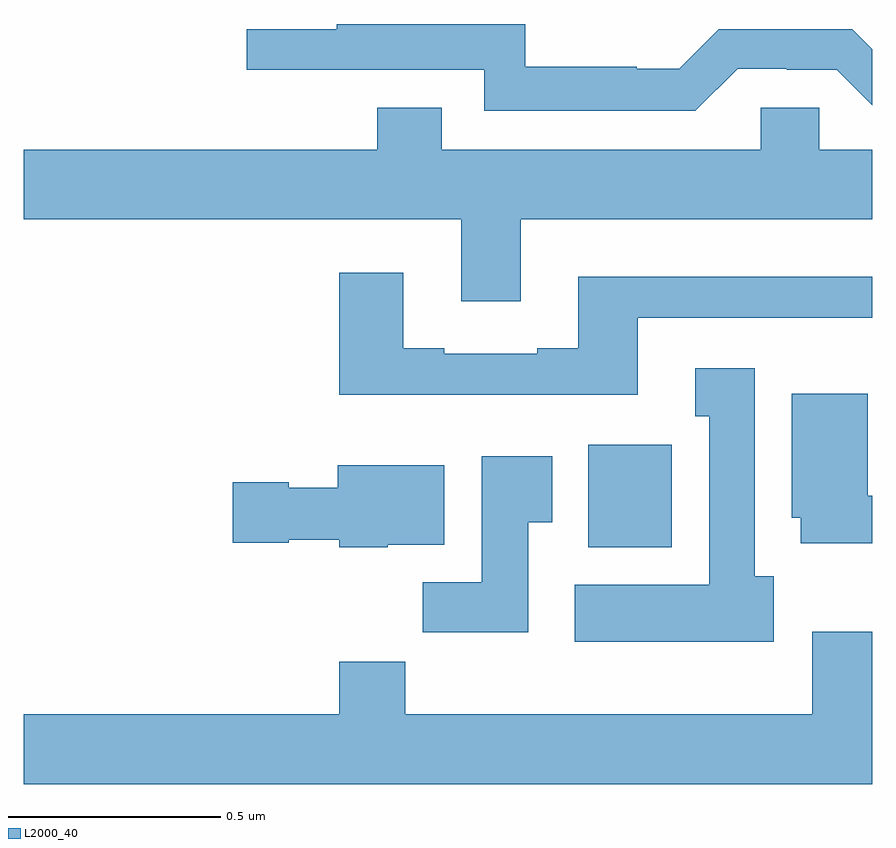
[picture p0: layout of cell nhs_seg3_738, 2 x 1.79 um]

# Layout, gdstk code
import gdstk
lib = gdstk.Library(unit=1e-6, precision=1e-09)
def R(c, l, rs):  # rectangles x0, y0, x1, y1
    for r in rs: c.add(gdstk.rectangle(r[:2], r[2:], *l))
def P(c, l, *ps):  # polygons
    for p in ps: c.add(gdstk.Polygon(p, *l))
L2000_40 = (2000, 40)

nhs_seg3_738 = lib.new_cell('nhs_seg3_738')
R(nhs_seg3_738, L2000_40, [(121.331,676.166,121.528,676.408)])
P(nhs_seg3_738, L2000_40, [(121.683,677.295),(121.799,677.295),(121.799,677.292),(121.917,677.292),(122,677.209),(122,677.341),(121.953,677.388),(121.638,677.388),(121.545,677.295),(121.445,677.295),(121.445,677.299),(121.182,677.299),(121.182,677.4),(120.738,677.4),(120.738,677.388),(120.525,677.388),(120.525,677.292),(121.086,677.292),(121.086,677.195),(121.583,677.195)],
  [(121.171,676.94),(122,676.94),(122,677.104),(121.875,677.104),(121.875,677.202),(121.737,677.202),(121.737,677.104),(120.985,677.104),(120.985,677.203),(120.833,677.203),(120.833,677.104),(120,677.104),(120,676.94),(121.031,676.94),(121.031,676.746),(121.171,676.746)],
  [(121.447,676.707),(122,676.707),(122,676.804),(121.307,676.804),(121.307,676.636),(121.211,676.636),(121.211,676.623),(120.991,676.623),(120.991,676.636),(120.895,676.636),(120.895,676.813),(120.743,676.813),(120.743,676.526),(121.447,676.526)],
  [(121.768,676.098),(121.723,676.098),(121.723,676.588),(121.583,676.588),(121.583,676.475),(121.616,676.475),(121.616,676.078),(121.299,676.078),(121.299,675.944),(121.768,675.944)],
  [(122,676.288),(121.99,676.288),(121.99,676.528),(121.811,676.528),(121.811,676.236),(121.832,676.236),(121.832,676.176),(122,676.176)],
  [(121.189,676.225),(121.246,676.225),(121.246,676.381),(121.079,676.381),(121.079,676.084),(120.94,676.084),(120.94,675.966),(121.189,675.966)],
  [(120.858,676.172),(120.991,676.172),(120.991,676.36),(120.74,676.36),(120.74,676.306),(120.624,676.306),(120.624,676.319),(120.492,676.319),(120.492,676.177),(120.624,676.177),(120.624,676.184),(120.744,676.184),(120.744,676.166),(120.858,676.166)],
  [(122,675.967),(121.859,675.967),(121.859,675.772),(120.899,675.772),(120.899,675.896),(120.743,675.896),(120.743,675.772),(120,675.772),(120,675.608),(122,675.608)])

lib.write_gds('nhs_seg3_738.gds')
